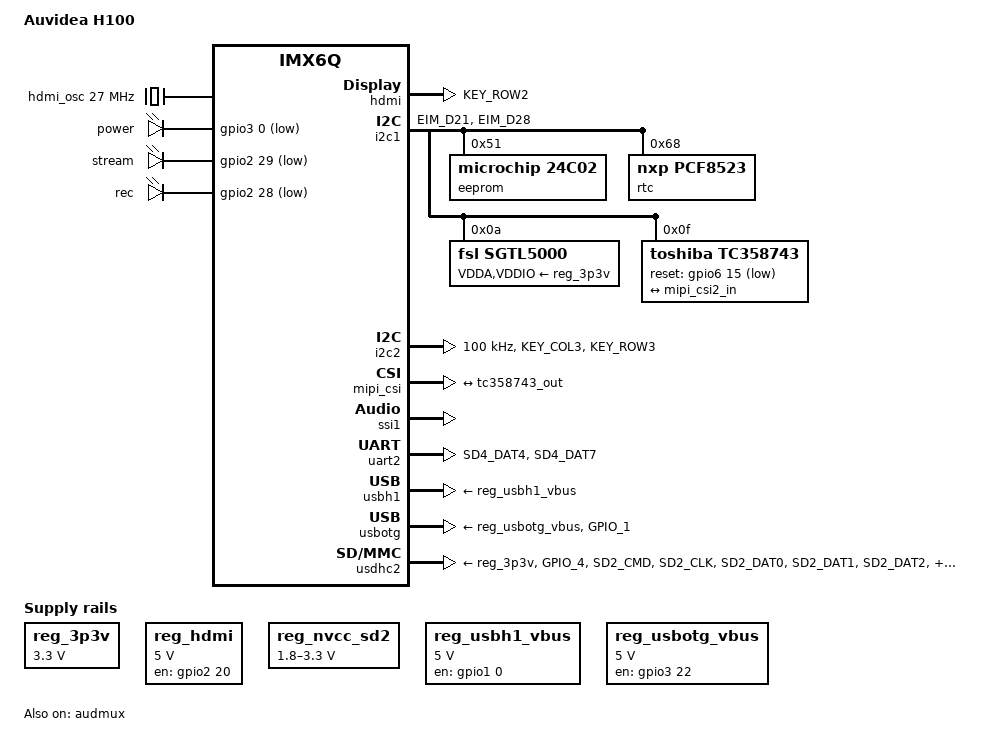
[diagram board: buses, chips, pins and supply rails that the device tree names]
/*
 * Copyright (C) 2015 Lucas Stach <kernel@pengutronix.de>
 *
 * This file is dual-licensed: you can use it either under the terms
 * of the GPL or the X11 license, at your option. Note that this dual
 * licensing only applies to this file, and not this project as a
 * whole.
 *
 *  a) This file is free software; you can redistribute it and/or
 *     modify it under the terms of the GNU General Public License
 *     version 2 as published by the Free Software Foundation.
 *
 *     This file is distributed in the hope that it will be useful
 *     but WITHOUT ANY WARRANTY; without even the implied warranty of
 *     MERCHANTABILITY or FITNESS FOR A PARTICULAR PURPOSE.  See the
 *     GNU General Public License for more details.
 *
 * Or, alternatively
 *
 *  b) Permission is hereby granted, free of charge, to any person
 *     obtaining a copy of this software and associated documentation
 *     files (the "Software"), to deal in the Software without
 *     restriction, including without limitation the rights to use
 *     copy, modify, merge, publish, distribute, sublicense, and/or
 *     sell copies of the Software, and to permit persons to whom the
 *     Software is furnished to do so, subject to the following
 *     conditions:
 *
 *     The above copyright notice and this permission notice shall be
 *     included in all copies or substantial portions of the Software.
 *
 *     THE SOFTWARE IS PROVIDED , WITHOUT WARRANTY OF ANY KIND
 *     EXPRESS OR IMPLIED, INCLUDING BUT NOT LIMITED TO THE WARRANTIES
 *     OF MERCHANTABILITY, FITNESS FOR A PARTICULAR PURPOSE AND
 *     NONINFRINGEMENT. IN NO EVENT SHALL THE AUTHORS OR COPYRIGHT
 *     HOLDERS BE LIABLE FOR ANY CLAIM, DAMAGES OR OTHER LIABILITY
 *     WHETHER IN AN ACTION OF CONTRACT, TORT OR OTHERWISE, ARISING
 *     FROM, OUT OF OR IN CONNECTION WITH THE SOFTWARE OR THE USE OR
 *     OTHER DEALINGS IN THE SOFTWARE.
 */

/dts-v1/;

#include "imx6q.dtsi"
#include "imx6qdl-microsom.dtsi"
#include "imx6qdl-microsom-ar8035.dtsi"

/ {
	model = "Auvidea H100";
	compatible = "auvidea,h100", "fsl,imx6q";

	aliases {
		rtc0 = &rtc;
		rtc1 = &snvs_rtc;
	};

	chosen {
		stdout-path = &uart2;
	};

	hdmi_osc: hdmi-osc {
		compatible = "fixed-clock";
		clock-output-names = "hdmi-osc";
		clock-frequency = <27000000>;
		#clock-cells = <0>;
	};

	leds {
		compatible = "gpio-leds";
		pinctrl-names = "default";
		pinctrl-0 = <&pinctrl_h100_leds>;

		led0: power {
			label = "power";
			gpios = <&gpio3 0 GPIO_ACTIVE_LOW>;
			default-state = "on";
		};

		led1: stream {
			label = "stream";
			gpios = <&gpio2 29 GPIO_ACTIVE_LOW>;
			default-state = "off";
		};

		led2: rec {
			label = "rec";
			gpios = <&gpio2 28 GPIO_ACTIVE_LOW>;
			default-state = "off";
		};
	};

	reg_3p3v: regulator-3p3v {
		compatible = "regulator-fixed";
		regulator-name = "3P3V";
		regulator-min-microvolt = <3300000>;
		regulator-max-microvolt = <3300000>;
	};

	reg_hdmi: regulator-hdmi {
		pinctrl-names = "default";
		pinctrl-0 = <&pinctrl_h100_reg_hdmi>;
		compatible = "regulator-fixed";
		enable-active-high;
		gpio = <&gpio2 20 GPIO_ACTIVE_HIGH>;
		regulator-name = "V_HDMI";
		regulator-min-microvolt = <5000000>;
		regulator-max-microvolt = <5000000>;
		regulator-always-on;
	};

	reg_nvcc_sd2: regulator-nvcc-sd2 {
		pinctrl-names = "default";
		pinctrl-0 = <&pinctrl_h100_reg_nvcc_sd2>;
		compatible = "regulator-gpio";
		regulator-name = "NVCC_SD2";
		regulator-min-microvolt = <1800000>;
		regulator-max-microvolt = <3300000>;
		regulator-type = "voltage";
		regulator-boot-on;
		regulator-always-on;
		gpios = <&gpio4 9 GPIO_ACTIVE_HIGH>;
		states = <1800000 0x1
			  3300000 0x0>;
	};

	reg_usbh1_vbus: regulator-usb-h1-vbus {
		compatible = "regulator-fixed";
		enable-active-high;
		gpio = <&gpio1 0 GPIO_ACTIVE_HIGH>;
		pinctrl-names = "default";
		pinctrl-0 = <&pinctrl_h100_usbh1_vbus>;
		regulator-name = "USB_H1_VBUS";
		regulator-min-microvolt = <5000000>;
		regulator-max-microvolt = <5000000>;
	};

	reg_usbotg_vbus: regulator-usb-otg-vbus {
		compatible = "regulator-fixed";
		enable-active-high;
		gpio = <&gpio3 22 GPIO_ACTIVE_HIGH>;
		pinctrl-names = "default";
		pinctrl-0 = <&pinctrl_h100_usbotg_vbus>;
		regulator-name = "USB_OTG_VBUS";
		regulator-min-microvolt = <5000000>;
		regulator-max-microvolt = <5000000>;
	};

	sound-sgtl5000 {
		compatible = "fsl,imx-audio-sgtl5000";
		model = "H100 on-board codec";
		audio-codec = <&sgtl5000>;
		audio-routing =
			"MIC_IN", "Mic Jack",
			"Mic Jack", "Mic Bias",
			"Headphone Jack", "HP_OUT";
		mux-ext-port = <5>;
		mux-int-port = <1>;
		ssi-controller = <&ssi1>;
	};
};

&audmux {
	status = "okay";
};

&hdmi {
	pinctrl-names = "default";
	pinctrl-0 = <&pinctrl_h100_hdmi>;
	ddc-i2c-bus = <&i2c2>;
	status = "okay";
};

&i2c1 {
	pinctrl-names = "default";
	pinctrl-0 = <&pinctrl_h100_i2c1>;
	status = "okay";

	eeprom: 24c02@51 {
		compatible = "microchip,24c02", "at24";
		reg = <0x51>;
	};

	rtc: pcf8523@68 {
		compatible = "nxp,pcf8523";
		reg = <0x68>;
	};

	sgtl5000: sgtl5000@0a {
		compatible = "fsl,sgtl5000";
		reg = <0x0a>;
		pinctrl-names = "default";
		pinctrl-0 = <&pinctrl_h100_sgtl5000>;
		clocks = <&clks IMX6QDL_CLK_CKO>;
		VDDA-supply = <&reg_3p3v>;
		VDDIO-supply = <&reg_3p3v>;
	};

	tc358743: tc358743@0f {
		compatible = "toshiba,tc358743";
		reg = <0x0f>;
		pinctrl-names = "default";
		pinctrl-0 = <&pinctrl_h100_tc358743>;
		clocks = <&hdmi_osc>;
		clock-names = "refclk";
		reset-gpios = <&gpio6 15 GPIO_ACTIVE_LOW>;
		/* IRQ has a wrong pull resistor which renders it useless  */

		port@0 {
			tc358743_out: endpoint {
				remote-endpoint = <&mipi_csi2_in>;
				data-lanes = <1 2 3 4>;
				clock-lanes = <0>;
				clock-noncontinuous;
				link-frequencies = /bits/ 64 <297000000>;
			};
		};
	};
};

&i2c2 {
	clock-frequency = <100000>;
	pinctrl-names = "default";
	pinctrl-0 = <&pinctrl_h100_i2c2>;
	status = "okay";
};

&iomuxc {
	h100 {
		pinctrl_h100_hdmi: h100-hdmi {
			fsl,pins = <
				MX6QDL_PAD_KEY_ROW2__HDMI_TX_CEC_LINE	0x1f8b0
			>;
		};

		pinctrl_h100_i2c1: h100-i2c1 {
			fsl,pins = <
				MX6QDL_PAD_EIM_D21__I2C1_SCL		0x4001b8b1
				MX6QDL_PAD_EIM_D28__I2C1_SDA		0x4001b8b1
			>;
		};

		pinctrl_h100_i2c2: h100-i2c2 {
			fsl,pins = <
				MX6QDL_PAD_KEY_COL3__I2C2_SCL		0x4001b8b1
				MX6QDL_PAD_KEY_ROW3__I2C2_SDA		0x4001b8b1
			>;
		};

		pinctrl_h100_leds: pinctrl-h100-leds {
			fsl,pins = <
				MX6QDL_PAD_EIM_DA0__GPIO3_IO00		0x1b0b0
				MX6QDL_PAD_EIM_EB1__GPIO2_IO29		0x1b0b0
				MX6QDL_PAD_EIM_EB0__GPIO2_IO28		0x1b0b0
			>;
		};

		pinctrl_h100_reg_hdmi: h100-reg-hdmi {
			fsl,pins = <
				MX6QDL_PAD_EIM_A18__GPIO2_IO20		0x1b0b0
			>;
		};

		pinctrl_h100_reg_nvcc_sd2: h100-reg-nvcc-sd2 {
			fsl,pins = <
				MX6QDL_PAD_KEY_ROW1__GPIO4_IO09		0x1b0b0
			>;
		};

		pinctrl_h100_sgtl5000: h100-sgtl5000 {
			fsl,pins = <
				MX6QDL_PAD_DISP0_DAT19__AUD5_RXD	0x130b0
				MX6QDL_PAD_KEY_COL0__AUD5_TXC		0x130b0
				MX6QDL_PAD_KEY_ROW0__AUD5_TXD		0x110b0
				MX6QDL_PAD_KEY_COL1__AUD5_TXFS		0x130b0
				MX6QDL_PAD_GPIO_5__CCM_CLKO1		0x130b0
			>;
		};

		pinctrl_h100_tc358743: h100-tc358743 {
			fsl,pins = <
				MX6QDL_PAD_NANDF_CS2__GPIO6_IO15	0x1b0b0
			>;
		};

		pinctrl_h100_uart2: h100-uart2 {
			fsl,pins = <
				MX6QDL_PAD_SD4_DAT4__UART2_RX_DATA	0x1b0b1
				MX6QDL_PAD_SD4_DAT7__UART2_TX_DATA	0x1b0b1
			>;
		};

		pinctrl_h100_usbh1_vbus: hummingboard-usbh1-vbus {
			fsl,pins = <
				MX6QDL_PAD_GPIO_0__GPIO1_IO00		0x1b0b0
			>;
		};

		pinctrl_h100_usbotg_id: hummingboard-usbotg-id {
			fsl,pins = <
				MX6QDL_PAD_GPIO_1__USB_OTG_ID		0x13059
			>;
		};

		pinctrl_h100_usbotg_vbus: hummingboard-usbotg-vbus {
			fsl,pins = <
				MX6QDL_PAD_EIM_D22__GPIO3_IO22		0x1b0b0
			>;
		};

		pinctrl_h100_usdhc2: h100-usdhc2 {
			fsl,pins = <
				MX6QDL_PAD_GPIO_4__GPIO1_IO04		0x1f071
				MX6QDL_PAD_SD2_CMD__SD2_CMD		0x17059
				MX6QDL_PAD_SD2_CLK__SD2_CLK		0x10059
				MX6QDL_PAD_SD2_DAT0__SD2_DATA0		0x17059
				MX6QDL_PAD_SD2_DAT1__SD2_DATA1		0x17059
				MX6QDL_PAD_SD2_DAT2__SD2_DATA2		0x17059
				MX6QDL_PAD_SD2_DAT3__SD2_DATA3		0x13059
			>;
		};

		pinctrl_h100_usdhc2_100mhz: h100-usdhc2-100mhz {
			fsl,pins = <
				MX6QDL_PAD_GPIO_4__GPIO1_IO04		0x1f071
				MX6QDL_PAD_SD2_CMD__SD2_CMD		0x170b9
				MX6QDL_PAD_SD2_CLK__SD2_CLK		0x100b9
				MX6QDL_PAD_SD2_DAT0__SD2_DATA0		0x170b9
				MX6QDL_PAD_SD2_DAT1__SD2_DATA1		0x170b9
				MX6QDL_PAD_SD2_DAT2__SD2_DATA2		0x170b9
				MX6QDL_PAD_SD2_DAT3__SD2_DATA3		0x170b9
			>;
		};

		pinctrl_h100_usdhc2_200mhz: h100-usdhc2-200mhz {
			fsl,pins = <
				MX6QDL_PAD_GPIO_4__GPIO1_IO04		0x1f071
				MX6QDL_PAD_SD2_CMD__SD2_CMD		0x170f9
				MX6QDL_PAD_SD2_CLK__SD2_CLK		0x100f9
				MX6QDL_PAD_SD2_DAT0__SD2_DATA0		0x170f9
				MX6QDL_PAD_SD2_DAT1__SD2_DATA1		0x170f9
				MX6QDL_PAD_SD2_DAT2__SD2_DATA2		0x170f9
				MX6QDL_PAD_SD2_DAT3__SD2_DATA3		0x170f9
			>;
		};
	};
};

&mipi_csi {
	status = "okay";

	port@0 {
		mipi_csi2_in: endpoint {
			remote-endpoint = <&tc358743_out>;
			data-lanes = <1 2 3 4>;
			clock-lanes = <0>;
			clock-noncontinuous;
			link-frequencies = /bits/ 64 <297000000>;
		};
	};
};

&ssi1 {
	status = "okay";
};

&uart2 {
	pinctrl-names = "default";
	pinctrl-0 = <&pinctrl_h100_uart2>;
	status = "okay";
};

&usbh1 {
	disable-over-current;
	vbus-supply = <&reg_usbh1_vbus>;
	status = "okay";
};

&usbotg {
	disable-over-current;
	pinctrl-names = "default";
	pinctrl-0 = <&pinctrl_h100_usbotg_id>;
	vbus-supply = <&reg_usbotg_vbus>;
	status = "okay";
};

&usdhc2 {
	pinctrl-names = "default", "state_100mhz", "state_200mhz";
	pinctrl-0 = <&pinctrl_h100_usdhc2>;
	pinctrl-1 = <&pinctrl_h100_usdhc2_100mhz>;
	pinctrl-2 = <&pinctrl_h100_usdhc2_200mhz>;
	vmmc-supply = <&reg_3p3v>;
	vqmmc-supply = <&reg_nvcc_sd2>;
	cd-gpios = <&gpio1 4 GPIO_ACTIVE_LOW>;
	status = "okay";
};
